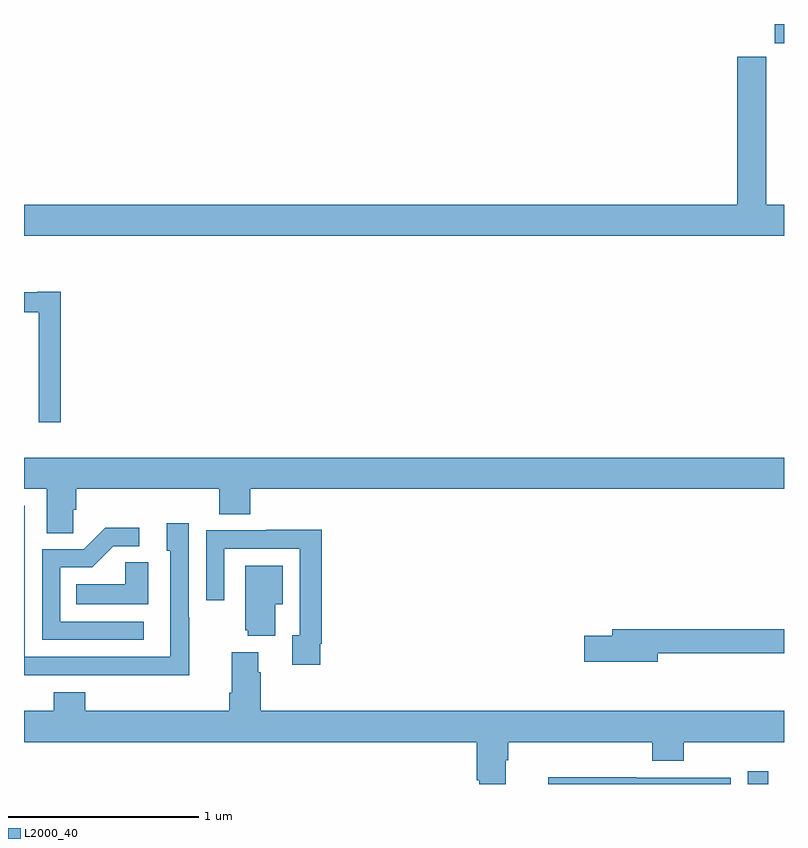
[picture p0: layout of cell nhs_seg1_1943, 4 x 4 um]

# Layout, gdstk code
import gdstk
lib = gdstk.Library(unit=1e-6, precision=1e-09)
def R(c, l, rs):  # rectangles x0, y0, x1, y1
    for r in rs: c.add(gdstk.rectangle(r[:2], r[2:], *l))
def P(c, l, *ps):  # polygons
    for p in ps: c.add(gdstk.Polygon(p, *l))
L2000_40 = (2000, 40)

nhs_seg1_1943 = lib.new_cell('nhs_seg1_1943')
R(nhs_seg1_1943, L2000_40, [(220.809,530.199,220.918,530.266), (220.952,534.099,221,534.199)])
P(nhs_seg1_1943, L2000_40, [(221,533.248),(220.906,533.248),(220.906,534.027),(220.754,534.027),(220.754,533.248),(217,533.248),(217,533.084),(221,533.084)],
  [(217.193,532.789),(217.07,532.789),(217.07,532.786),(217,532.786),(217,532.682),(217.077,532.682),(217.077,532.104),(217.193,532.104)],
  [(217.26,531.643),(217.274,531.643),(217.274,531.752),(218.027,531.752),(218.027,531.619),(218.192,531.619),(218.192,531.752),(221,531.752),(221,531.916),(217,531.916),(217,531.752),(217.121,531.752),(217.121,531.52),(217.26,531.52)],
  [(217.869,531.077),(217.866,531.077),(217.866,531.571),(217.751,531.571),(217.751,531.426),(217.77,531.426),(217.77,530.868),(217.005,530.868),(217.005,531.663),(217,531.663),(217,530.772),(217.405,530.772),(217.405,530.771),(217.869,530.771)],
  [(217.63,531.054),(217.191,531.054),(217.191,531.339),(217.36,531.339),(217.471,531.45),(217.606,531.45),(217.606,531.548),(217.427,531.548),(217.314,531.435),(217.095,531.435),(217.095,530.958),(217.63,530.958)],
  [(218.56,530.938),(218.567,530.938),(218.567,531.536),(218.275,531.536),(218.275,531.534),(217.959,531.534),(217.959,531.165),(218.055,531.165),(218.055,531.438),(218.451,531.438),(218.451,530.982),(218.411,530.982),(218.411,530.826),(218.56,530.826)],
  [(217.654,531.365),(217.533,531.365),(217.533,531.25),(217.276,531.25),(217.276,531.146),(217.654,531.146)],
  [(218.323,531.146),(218.362,531.146),(218.362,531.349),(218.165,531.349),(218.165,531.009),(218.177,531.009),(218.177,530.978),(218.323,530.978)],
  [(220.336,530.886),(221,530.886),(221,531.014),(220.097,531.014),(220.097,530.978),(219.948,530.978),(219.948,530.843),(220.336,530.843)],
  [(219.535,530.324),(219.548,530.324),(219.548,530.42),(220.307,530.42),(220.307,530.321),(220.472,530.321),(220.472,530.42),(221,530.42),(221,530.584),(218.246,530.584),(218.246,530.786),(218.233,530.786),(218.233,530.893),(218.093,530.893),(218.093,530.68),(218.081,530.68),(218.081,530.584),(217.322,530.584),(217.322,530.683),(217.157,530.683),(217.157,530.584),(217,530.584),(217,530.42),(219.383,530.42),(219.383,530.218),(219.395,530.218),(219.395,530.199),(219.535,530.199)],
  [(220.719,530.232),(220.223,530.232),(220.223,530.234),(219.76,530.234),(219.76,530.199),(220.719,530.199)])

lib.write_gds('nhs_seg1_1943.gds')
